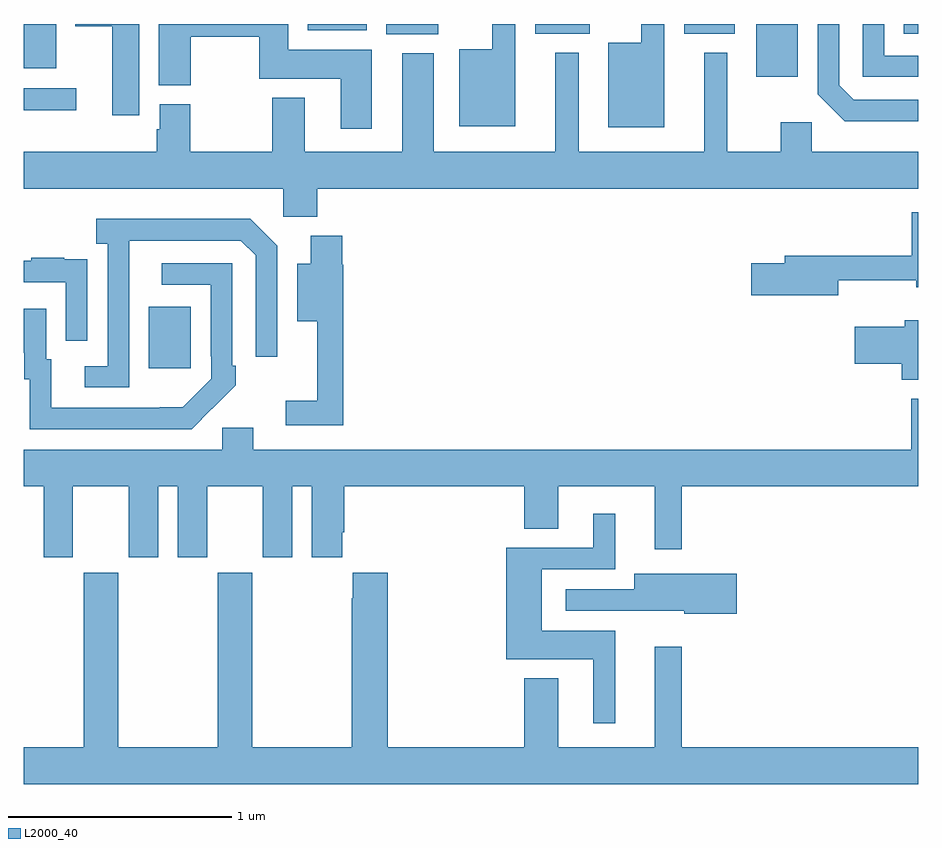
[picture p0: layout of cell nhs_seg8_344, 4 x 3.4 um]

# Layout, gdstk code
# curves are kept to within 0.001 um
import gdstk
lib = gdstk.Library(unit=1e-6, precision=1e-09)
def R(c, l, rs):  # rectangles x0, y0, x1, y1
    for r in rs: c.add(gdstk.rectangle(r[:2], r[2:], *l))
def P(c, l, *ps):  # polygons
    for p in ps: c.add(gdstk.Polygon(p, *l))
L2000_40 = (2000, 40)

nhs_seg8_344 = lib.new_cell('nhs_seg8_344')
R(nhs_seg8_344, L2000_40, [(133.559,1118.361,133.747,1118.635), (133,1119.515,133.234,1119.612), (136.275,1119.665,136.462,1119.9), (133,1119.701,133.144,1119.9), (134.621,1119.854,134.854,1119.9), (135.287,1119.857,135.532,1119.9), (135.953,1119.857,136.18,1119.9), (136.937,1119.857,137,1119.9), (134.27,1119.872,134.533,1119.9)])
P(nhs_seg8_344, L2000_40, [(135.865,1119.9),(135.761,1119.9),(135.761,1119.817),(135.614,1119.817),(135.614,1119.437),(135.865,1119.437)],
  [(137,1119.561),(136.713,1119.561),(136.647,1119.627),(136.647,1119.9),(136.551,1119.9),(136.551,1119.585),(136.672,1119.464),(137,1119.464)],
  [(137,1119.759),(136.848,1119.759),(136.848,1119.9),(136.752,1119.9),(136.752,1119.663),(137,1119.663)],
  [(134.557,1119.784),(134.182,1119.784),(134.182,1119.9),(133.604,1119.9),(133.604,1119.625),(133.746,1119.625),(133.746,1119.844),(134.053,1119.844),(134.053,1119.656),(134.417,1119.656),(134.417,1119.432),(134.557,1119.432)],
  [(133.516,1119.9),(133.229,1119.9),(133.229,1119.89),(133.394,1119.89),(133.394,1119.492),(133.516,1119.492)],
  [(135.199,1119.9),(135.095,1119.9),(135.095,1119.787),(134.948,1119.787),(134.948,1119.443),(135.199,1119.443)],
  [(134.312,1119.164),(137,1119.164),(137,1119.328),(136.524,1119.328),(136.524,1119.46),(136.385,1119.46),(136.385,1119.328),(136.147,1119.328),(136.147,1119.772),(136.043,1119.772),(136.043,1119.328),(135.481,1119.328),(135.481,1119.772),(135.377,1119.772),(135.377,1119.328),(134.833,1119.328),(134.833,1119.769),(134.693,1119.769),(134.693,1119.328),(134.257,1119.328),(134.257,1119.571),(134.11,1119.571),(134.11,1119.328),(133.743,1119.328),(133.743,1119.54),(133.607,1119.54),(133.607,1119.429),(133.595,1119.429),(133.595,1119.328),(133,1119.328),(133,1119.164),(134.16,1119.164),(134.16,1119.038),(134.312,1119.038)],
  [(136.642,1118.753),(136.991,1118.753),(136.991,1118.723),(137,1118.723),(137,1119.058),(136.972,1119.058),(136.972,1118.863),(136.403,1118.863),(136.403,1118.829),(136.254,1118.829),(136.254,1118.687),(136.642,1118.687)],
  [(133.47,1118.731),(133.471,1118.931),(133.971,1118.931),(134.037,1118.865),(134.037,1118.412),(134.133,1118.412),(134.133,1118.907),(134.012,1119.028),(133.323,1119.028),(133.323,1118.918),(133.374,1118.918),(133.374,1118.37),(133.272,1118.37),(133.272,1118.274),(133.47,1118.274)],
  [(134.429,1118.823),(134.423,1118.823),(134.423,1118.953),(134.282,1118.953),(134.282,1118.827),(134.222,1118.827),(134.222,1118.57),(134.312,1118.57),(134.312,1118.215),(134.172,1118.215),(134.172,1118.106),(134.429,1118.106)],
  [(133.284,1118.738),(133.283,1118.738),(133.283,1118.847),(133.181,1118.847),(133.181,1118.854),(133.033,1118.854),(133.033,1118.841),(133,1118.841),(133,1118.745),(133.188,1118.745),(133.188,1118.484),(133.284,1118.484)],
  [(133.841,1118.179),(133.842,1118.178),(133.947,1118.283),(133.947,1118.371),(133.932,1118.371),(133.932,1118.829),(133.617,1118.829),(133.617,1118.733),(133.836,1118.733),(133.836,1118.413),(133.839,1118.413),(133.839,1118.313),(133.711,1118.185),(133.123,1118.184),(133.123,1118.4),(133.099,1118.4),(133.099,1118.626),(133,1118.626),(133.001,1118.31),(133.026,1118.31),(133.026,1118.088),(133.75,1118.088)],
  [(137,1118.575),(136.94,1118.575),(136.94,1118.545),(136.716,1118.545),(136.716,1118.38),(136.928,1118.38),(136.928,1118.309),(137,1118.309)],
  [(133.219,1117.832),(133.469,1117.832),(133.469,1117.515),(133.6,1117.515),(133.6,1117.832),(133.688,1117.832),(133.688,1117.515),(133.819,1117.515),(133.819,1117.832),(134.069,1117.832),(134.069,1117.515),(134.2,1117.515),(134.2,1117.832),(134.288,1117.832),(134.288,1117.515),(134.425,1117.515),(134.425,1117.627),(134.432,1117.627),(134.432,1117.832),(135.239,1117.832),(135.239,1117.642),(135.391,1117.642),(135.391,1117.832),(135.821,1117.832),(135.821,1117.551),(135.943,1117.551),(135.943,1117.832),(137,1117.832),(137,1118.224),(136.969,1118.224),(136.969,1117.996),(134.026,1117.996),(134.026,1118.094),(133.887,1118.094),(133.887,1117.996),(133,1117.996),(133,1117.832),(133.088,1117.832),(133.088,1117.515),(133.219,1117.515)],
  [(135.646,1117.186),(135.316,1117.186),(135.316,1117.461),(135.646,1117.461),(135.646,1117.708),(135.548,1117.708),(135.548,1117.557),(135.158,1117.557),(135.158,1117.058),(135.548,1117.058),(135.548,1116.771),(135.646,1116.771)],
  [(137,1116.664),(135.943,1116.664),(135.943,1117.114),(135.821,1117.114),(135.821,1116.664),(135.391,1116.664),(135.391,1116.973),(135.239,1116.973),(135.239,1116.664),(134.627,1116.664),(134.627,1117.444),(134.471,1117.444),(134.471,1117.331),(134.467,1117.331),(134.467,1116.664),(134.022,1116.664),(134.022,1117.444),(133.867,1117.444),(133.867,1116.664),(133.422,1116.664),(133.422,1117.444),(133.267,1117.444),(133.267,1116.664),(133,1116.664),(133,1116.5),(137,1116.5)],
  [(136.189,1117.44),(135.731,1117.44),(135.731,1117.371),(135.423,1117.371),(135.423,1117.275),(135.735,1117.275),(135.735,1117.274),(135.954,1117.274),(135.954,1117.262),(136.189,1117.262)])

lib.write_gds('nhs_seg8_344.gds')
